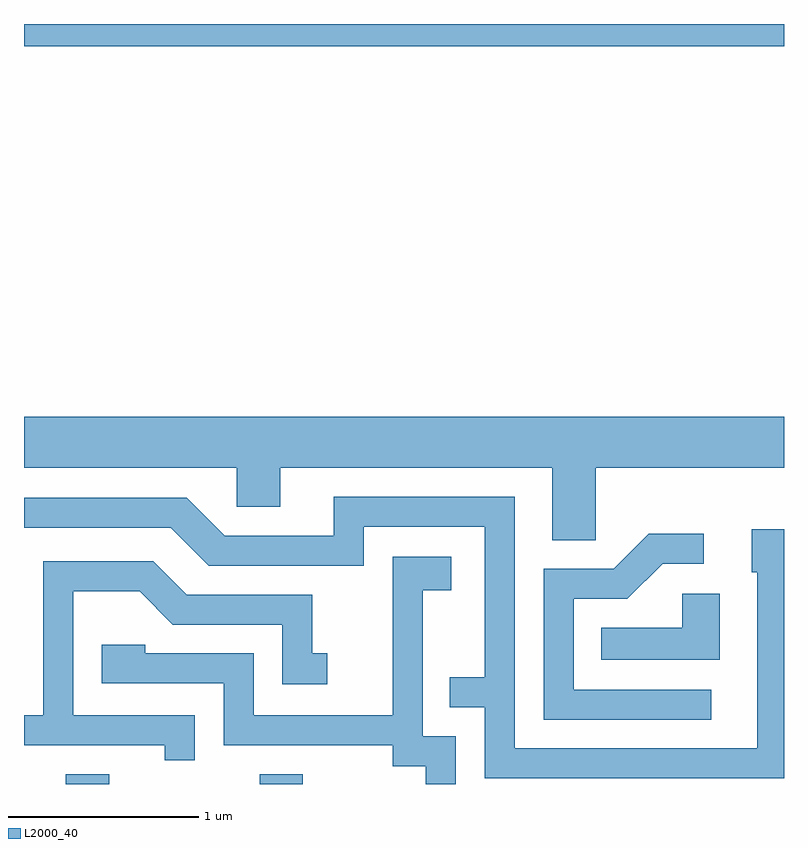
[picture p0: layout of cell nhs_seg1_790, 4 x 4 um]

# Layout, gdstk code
import gdstk
lib = gdstk.Library(unit=1e-6, precision=1e-09)
def R(c, l, rs):  # rectangles x0, y0, x1, y1
    for r in rs: c.add(gdstk.rectangle(r[:2], r[2:], *l))
def P(c, l, *ps):  # polygons
    for p in ps: c.add(gdstk.Polygon(p, *l))
L2000_40 = (2000, 40)

nhs_seg1_790 = lib.new_cell('nhs_seg1_790')
R(nhs_seg1_790, L2000_40, [(209.831,875.712,210.059,875.764), (210.851,875.712,211.079,875.764), (209.611,879.596,213.611,879.712)])
P(nhs_seg1_790, L2000_40, [(212.619,877.376),(213.611,877.376),(213.611,877.644),(209.611,877.644),(209.611,877.376),(210.731,877.376),(210.731,877.171),(210.959,877.171),(210.959,877.376),(212.391,877.376),(212.391,876.996),(212.619,876.996)],
  [(213.611,877.054),(213.441,877.054),(213.441,876.826),(213.471,876.826),(213.471,875.899),(212.194,875.899),(212.194,877.224),(211.241,877.224),(211.241,877.019),(210.667,877.019),(210.467,877.219),(209.611,877.219),(209.611,877.061),(210.384,877.061),(210.584,876.861),(211.399,876.861),(211.399,877.066),(212.036,877.066),(212.036,876.274),(211.853,876.274),(211.853,876.116),(212.036,876.116),(212.036,875.741),(213.611,875.741)],
  [(213.228,876.209),(212.504,876.209),(212.504,876.686),(212.787,876.686),(212.972,876.871),(213.188,876.871),(213.188,877.029),(212.899,877.029),(212.714,876.844),(212.346,876.844),(212.346,876.051),(213.228,876.051)],
  [(211.884,875.964),(211.709,875.964),(211.709,876.731),(211.859,876.731),(211.859,876.909),(211.551,876.909),(211.551,876.074),(210.819,876.074),(210.819,876.399),(210.249,876.399),(210.249,876.444),(210.021,876.444),(210.021,876.241),(210.661,876.241),(210.661,875.916),(211.551,875.916),(211.551,875.806),(211.726,875.806),(211.726,875.712),(211.884,875.712)],
  [(210.509,876.074),(209.869,876.074),(209.869,876.726),(210.219,876.726),(210.394,876.551),(210.971,876.551),(210.971,876.236),(211.208,876.236),(211.208,876.399),(211.129,876.399),(211.129,876.709),(210.467,876.709),(210.292,876.884),(209.711,876.884),(209.711,876.074),(209.611,876.074),(209.611,875.916),(210.351,875.916),(210.351,875.838),(210.509,875.838)],
  [(213.274,876.714),(213.076,876.714),(213.076,876.534),(212.648,876.534),(212.648,876.366),(213.274,876.366)])

lib.write_gds('nhs_seg1_790.gds')
